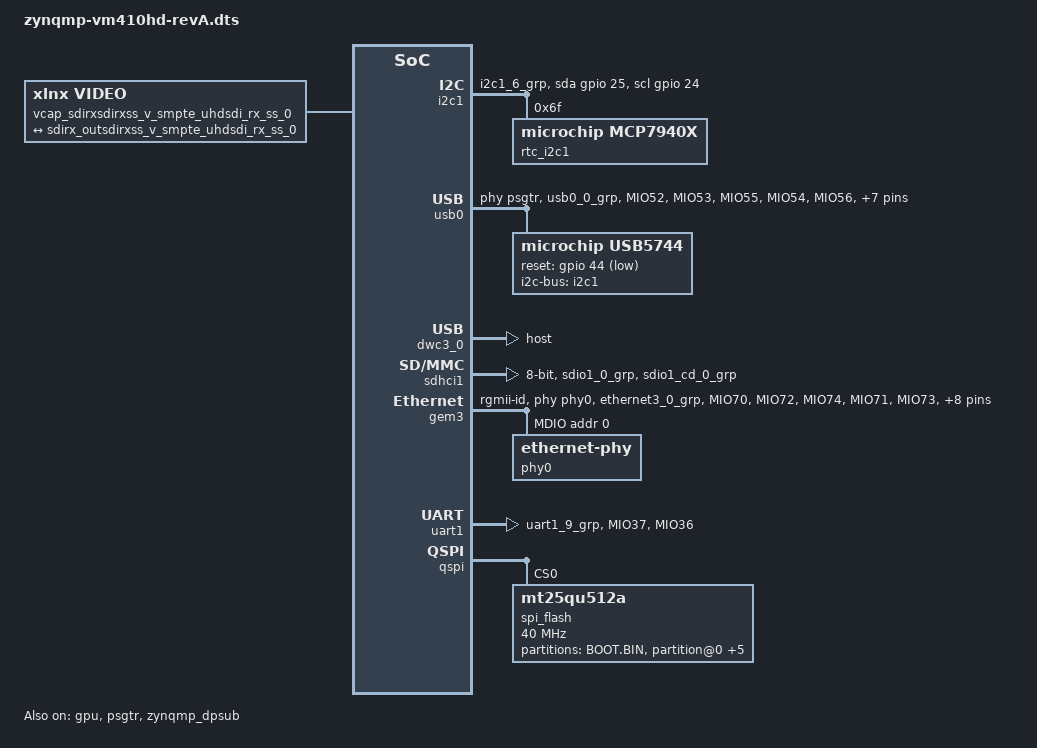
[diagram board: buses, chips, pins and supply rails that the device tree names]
// SPDX-License-Identifier: GPL-2.0
/*
 * dts file for KV260 revA Carrier Card
 *
 * (C) Copyright 2020 - 2021, Xilinx, Inc.
 *
 * Michal Simek <michal.simek@xilinx.com>
 */

#include <dt-bindings/gpio/gpio.h>
#include <dt-bindings/net/ti-dp83867.h>
#include <dt-bindings/phy/phy.h>
#include <dt-bindings/pinctrl/pinctrl-zynqmp.h>
#include <dt-bindings/media/xilinx-vip.h>
#include <dt-bindings/clock/xlnx-zynqmp-clk.h>
#include <dt-bindings/power/xlnx-zynqmp-power.h>

/dts-v1/;
/plugin/;

&{/} {
	compatible = "xlnx,zynqmp";
	model = "VM-410HD revA";
	#address-cells = <2>;
	#size-cells = <2>;
	reserved-memory {
		#address-cells = <2>;
		#size-cells = <2>;
		ranges;

		/* global autoconfigured region for contiguous allocations */
		image_buf0: image_buf@10000000 {
			compatible = "shared-dma-pool";
			no-map;
			reg = <0 0x10000000 0 0x10000000>; // 256MB
		};
		display_reserved: framebuffer@70000000 {
			compatible = "shared-dma-pool";
			no-map;
			reg = <0 0x70000000 0 0x00800000>; // 8MB
		};
	};
	framebuffer0: framebuffer@70000000 {
                compatible = "simple-framebuffer";
                reg = <0 0x70000000 0 (1920 * 1080  * 2)>;
                width = <1920>;
                height = <1080>;
                stride = <(1920 * 2)>;
                format = "r5g6b5";
		clocks = <&misc_clk_0>;
        };
};

&gpio {
	emio-gpio-width = <32>;
	gpio-mask-high = <0x0>;
	gpio-mask-low = <0x5600>;
	status = "okay";
};

&gpu {
	status = "okay";
	xlnx,tz-nonsecure = <0x1>;
};

&spi1 { /* MIO6, 9-11 */
    status = "disabled";
};

&rtc {
	status = "disabled";
};

&i2c1 { /* I2C_SCK C23/C24 - MIO from SOM */
	#address-cells = <1>;
	#size-cells = <0>;
	pinctrl-names = "default", "gpio";
	pinctrl-0 = <&pinctrl_i2c1_default>;
	pinctrl-1 = <&pinctrl_i2c1_gpio>;
	scl-gpios = <&gpio 24 GPIO_ACTIVE_HIGH>;
	sda-gpios = <&gpio 25 GPIO_ACTIVE_HIGH>;

	/* u43 - 0x2d - USB hub */
	/* u27 - 0xe0 - STDP4320 DP/HDMI splitter */
	/* u24 - 0x6f - MCP7940NT-I/MNY RTC */
	rtc_i2c1: mcp7940x@6f {
		compatible = "microchip,mcp7940x";
		reg = <0x6f>;
	};
};

&amba {
	clk_27: clk_27 {
		compatible = "fixed-clock";
		#clock-cells = <0>;
		clock-frequency = <27000000>;
	};

	clk_26: clk_26 {
		compatible = "fixed-clock";
		#clock-cells = <0>;
		clock-frequency = <26000000>;
	};
};

/* DP/USB 3.0 */
&psgtr {
	status = "okay";
	/* pcie, usb3, sata */
	clocks = <&clk_27>, <&clk_26>;
	clock-names = "ref1", "ref2";
};

&zynqmp_dpsub {
	status = "okay";
	phy-names = "dp-phy0", "dp-phy1";
	phys = <&psgtr 1 PHY_TYPE_DP 0 1>, <&psgtr 0 PHY_TYPE_DP 1 1>;
        clocks = <&dp_aclk>, <&zynqmp_clk DP_AUDIO_REF>, <&zynqmp_clk DP_VIDEO_REF>; //, <&video_clk_wiz>;
        clock-names = "dp_apb_clk", "dp_aud_clk", "dp_vtc_pixel_clk_in"; //, "dp_live_video_in_clk";
	assigned-clock-rates = <27000000>, <25000000>, <300000000>; //, <262750170>;
};

&zynqmp_dpdma {
	status = "okay";
	assigned-clock-rates = <600000000>;
};

&usb0 {
	status = "okay";
	pinctrl-names = "default";
	pinctrl-0 = <&pinctrl_usb0_default>;
	phy-names = "usb3-phy";
	phys = <&psgtr 2 PHY_TYPE_USB3 0 2>;
	assigned-clock-rates = <250000000>, <20000000>;

	usb5744: usb-hub { /* u43 */
		status = "okay";
		compatible = "microchip,usb5744";
		i2c-bus = <&i2c1>;
		reset-gpios = <&gpio 44 GPIO_ACTIVE_LOW>;
	};
};

&dwc3_0 {
	status = "okay";
	dr_mode = "host";
	snps,usb3_lpm_capable;
	maximum-speed = "super-speed";
};

&sdhci0 {
	assigned-clock-rates = <187499999>;
};

&sdhci1 {
	status = "okay";
	pinctrl-names = "default";
	pinctrl-0 = <&pinctrl_sdhci1_default>;
	disable-wp;
	xlnx,mio-bank = <1>;
	clk-phase-sd-hs = <126>, <60>;
	clk-phase-uhs-sdr25 = <120>, <60>;
	clk-phase-uhs-ddr50 = <126>, <48>;
	assigned-clock-rates = <187499999>;
	bus-width = <8>;
};

&gem3 { /* required by spec */
	status = "okay";
	pinctrl-names = "default";
	pinctrl-0 = <&pinctrl_gem3_default>;
	phy-handle = <&phy0>;
	phy-mode = "rgmii-id";

	mdio: mdio {
		#address-cells = <1>;
		#size-cells = <0>;

		phy0: ethernet-phy@1 {
			#phy-cells = <1>;
			reg = <0>;
		};
	};
};

&pinctrl0 { /* required by spec */
	status = "okay";

	pinctrl_uart1_default: uart1-default {
		conf {
			groups = "uart1_9_grp";
			slew-rate = <SLEW_RATE_SLOW>;
			power-source = <IO_STANDARD_LVCMOS18>;
			drive-strength = <12>;
		};

		conf-rx {
			pins = "MIO37";
			bias-high-impedance;
		};

		conf-tx {
			pins = "MIO36";
			bias-disable;
		};

		mux {
			groups = "uart1_9_grp";
			function = "uart1";
		};
	};

	pinctrl_i2c1_default: i2c1-default {
		conf {
			groups = "i2c1_6_grp";
			bias-pull-up;
			slew-rate = <SLEW_RATE_SLOW>;
			power-source = <IO_STANDARD_LVCMOS18>;
		};

		mux {
			groups = "i2c1_6_grp";
			function = "i2c1";
		};
	};

	pinctrl_i2c1_gpio: i2c1-gpio {
		conf {
			groups = "gpio0_24_grp", "gpio0_25_grp";
			slew-rate = <SLEW_RATE_SLOW>;
			power-source = <IO_STANDARD_LVCMOS18>;
		};

		mux {
			groups = "gpio0_24_grp", "gpio0_25_grp";
			function = "gpio0";
		};
	};

	pinctrl_gem3_default: gem3-default {
		conf {
			groups = "ethernet3_0_grp";
			slew-rate = <SLEW_RATE_FAST>;
			drive-strength = <12>;
			power-source = <IO_STANDARD_LVCMOS18>;
		};

		conf-rx {
			pins = "MIO70", "MIO72", "MIO74";
			bias-high-impedance;
			low-power-disable;
		};

		conf-bootstrap {
			pins = "MIO71", "MIO73", "MIO75";
			bias-disable;
			low-power-disable;
		};

		conf-tx {
			pins = "MIO64", "MIO65", "MIO66",
				"MIO67", "MIO68", "MIO69";
			bias-disable;
			low-power-enable;
		};

		conf-mdio {
			groups = "mdio3_0_grp";
			slew-rate = <SLEW_RATE_SLOW>;
			power-source = <IO_STANDARD_LVCMOS18>;
			bias-disable;
		};

		mux-mdio {
			function = "mdio3";
			groups = "mdio3_0_grp";
		};

		mux {
			function = "ethernet3";
			groups = "ethernet3_0_grp";
		};
	};

	pinctrl_usb0_default: usb0-default {
		conf {
			groups = "usb0_0_grp";
			power-source = <IO_STANDARD_LVCMOS18>;
		};

		conf-rx {
			pins = "MIO52", "MIO53", "MIO55";
			bias-high-impedance;
			drive-strength = <12>;
			slew-rate = <SLEW_RATE_FAST>;
		};

		conf-tx {
			pins = "MIO54", "MIO56", "MIO57", "MIO58", "MIO59",
			"MIO60", "MIO61", "MIO62", "MIO63";
			bias-disable;
			drive-strength = <4>;
			slew-rate = <SLEW_RATE_SLOW>;
		};

		mux {
			groups = "usb0_0_grp";
			function = "usb0";
		};
	};

	pinctrl_sdhci1_default: sdhci1-default {
		conf {
			groups = "sdio1_0_grp";
			slew-rate = <SLEW_RATE_SLOW>;
			power-source = <IO_STANDARD_LVCMOS18>;
			bias-disable;
		};

		conf-cd {
			groups = "sdio1_cd_0_grp";
			bias-high-impedance;
			bias-pull-up;
			slew-rate = <SLEW_RATE_SLOW>;
			power-source = <IO_STANDARD_LVCMOS18>;
		};

		mux-cd {
			groups = "sdio1_cd_0_grp";
			function = "sdio1_cd";
		};

		mux {
			groups = "sdio1_0_grp";
			function = "sdio1";
		};
	};
};

&uart1 {
	status = "okay";
	pinctrl-names = "default";
	pinctrl-0 = <&pinctrl_uart1_default>;
};

&amba {
	#address-cells = <2>;
	#size-cells = <2>;
	uio_sdirxss: uio_sdirxss@80040000 {
		// UHDSDI Rx Subsystem
		compatible = "vm410hd-uio";
		reg = <0x0 0x80040000 0x0 0x10000>;
	};
	uio_vtc: uio_vtc@80050000 {
		// Video Timing Controller
		compatible = "vm410hd-uio";
		reg = <0x0 0x80050000 0x0 0x10000>;
	};
	afi0: afi0 {
		compatible = "xlnx,afi-fpga";
		config-afi = < 0 0>, <1 0>, <2 0>, <3 0>, <4 0>, <5 0>, <6 0>, <7 0>, <8 0>, <9 0>, <10 2>, <11 2>, <12 0>, <13 0>, <14 0x200>, <15 0x000>;
	};
	clocking0: clocking0 {
		#clock-cells = <0>;
		assigned-clock-rates = <99999001>;
		assigned-clocks = <&zynqmp_clk 71>;
		clock-output-names = "fabric_clk";
		clocks = <&zynqmp_clk 71>;
		compatible = "xlnx,fclk";
	};
	sdirxss_v_frmbuf_wr_0: v_frmbuf_wr@80000000 {
		#dma-cells = <1>;
		clock-names = "ap_clk";
		clocks = <&misc_clk_0>;
		compatible = "xlnx,v-frmbuf-wr-2.4", "xlnx,axi-frmbuf-wr-v2.2";
		interrupt-names = "interrupt";
		interrupt-parent = <&gic>;
		interrupts = <0 90 4>;
		reg = <0x0 0x80000000 0x0 0x10000>;
		reset-gpios = <&gpio 106 1>;
		xlnx,dma-addr-width = <64>;
		xlnx,dma-align = <16>;
		xlnx,max-height = <2160>;
		xlnx,max-width = <3840>;
		xlnx,pixels-per-clock = <2>;
		xlnx,s-axi-ctrl-addr-width = <0x7>;
		xlnx,s-axi-ctrl-data-width = <0x20>;
		xlnx,vid-formats = "uyvy", "vuy888", "xvuy8888", "yuvx2101010", "yuyv", "nv16", "xv20", "xv15";
		xlnx,video-width = <10>;
	};
	misc_clk_0: misc_clk_0 {
		#clock-cells = <0>;
		clock-frequency = <224997750>;
		compatible = "fixed-clock";
	};
	misc_clk_1: misc_clk_1 {
		#clock-cells = <0>;
		clock-frequency = <148500000>;
		compatible = "fixed-clock";
	};
	misc_clk_2: misc_clk_2 {
		#clock-cells = <0>;
		clock-frequency = <99999000>;
		compatible = "fixed-clock";
	};
	vcu_0: vcu@80100000 {
		#address-cells = <2>;
		#clock-cells = <1>;
		#size-cells = <2>;
		clock-names = "pll_ref", "aclk", "vcu_core_enc", "vcu_mcu_enc", "vcu_core_dec", "vcu_mcu_dec";
		clocks = <&misc_clk_3>, <&misc_clk_2>, <&vcu_0 0>, <&vcu_0 1>, <&vcu_0 2>, <&vcu_0 3>;
		compatible = "xlnx,vcu-1.2", "xlnx,vcu";
		interrupt-names = "vcu_host_interrupt";
		interrupt-parent = <&gic>;
		interrupts = <0 104 4>;
		ranges ;
		reg = <0x0 0x80140000 0x0 0x1000>, <0x0 0x80141000 0x0 0x1000>;
		reg-names = "vcu_slcr", "logicore";
		reset-gpios = <&gpio 108 0>;
		encoder: al5e@80100000 {
			compatible = "al,al5e-1.2", "al,al5e";
			interrupt-parent = <&gic>;
			interrupts = <0 104 4>;
			reg = <0x0 0x80100000 0x0 0x10000>;
		};
		decoder: al5d@80120000 {
			compatible = "al,al5d-1.2", "al,al5d";
			interrupt-parent = <&gic>;
			interrupts = <0 104 4>;
			reg = <0x0 0x80120000 0x0 0x10000>;
		};
	};
	misc_clk_3: misc_clk_3 {
		#clock-cells = <0>;
		clock-frequency = <49999500>;
		compatible = "fixed-clock";
	};
	vcap_sdirxsdirxss_v_smpte_uhdsdi_rx_ss_0 {
		compatible = "xlnx,video";
		dma-names = "port0";
		dmas = <&sdirxss_v_frmbuf_wr_0 0>;
		memory-region = <&image_buf0>;
		vcap_portssdirxss_v_smpte_uhdsdi_rx_ss_0: ports {
			#address-cells = <1>;
			#size-cells = <0>;
			vcap_portsdirxss_v_smpte_uhdsdi_rx_ss_0: port@0 {
				direction = "input";
				reg = <0>;
				sdirxss_v_frmbuf_wr_0sdirxss_v_smpte_uhdsdi_rx_ss_0: endpoint {
					remote-endpoint = <&sdirx_outsdirxss_v_smpte_uhdsdi_rx_ss_0>;
				};
			};
		};
	};
	sdirxss_v_smpte_uhdsdi_rx_ss_0: v_smpte_uhdsdi_rx_ss@80040000 {
		clock-names = "sdi_rx_clk", "video_out_clk", "s_axi_aclk";
		clocks = <&misc_clk_1>, <&misc_clk_0>, <&misc_clk_2>;
		compatible = "xlnx,v-smpte-uhdsdi-rx-ss-2.0", "xlnx,v-smpte-uhdsdi-rx-ss";
		interrupt-names = "sdi_rx_irq";
		interrupt-parent = <&gic>;
		interrupts = <0 92 4>;
		reg = <0x0 0x80040000 0x0 0x10000>;
		xlnx,bpp = <10>;
		xlnx,exdes-board = "ZCU106";
		xlnx,exdes-config = "RX_Only";
		xlnx,exdesboard-version = <0x2>;
		xlnx,include-adv-features = "false";
		xlnx,include-axilite = "true";
		xlnx,include-edh = "true";
		xlnx,include-hdr10-extract = "false";
		xlnx,include-hfr = "false";
		xlnx,include-ycbcr-444 = "false";
		xlnx,line-rate = "3G_SDI";
		xlnx,pixels-per-clock = <0x2>;
		xlnx,video-intf = "AXI4_Stream";
		sdirx_portssdirxss_v_smpte_uhdsdi_rx_ss_0: ports {
			#address-cells = <1>;
			#size-cells = <0>;
			sdirx_portsdirxss_v_smpte_uhdsdi_rx_ss_0: port@0 {
				/* Fill the fields xlnx,video-format and xlnx,video-width based on user requirement */
				reg = <0>;
				xlnx,video-format = <0>;
				xlnx,video-width = <10>;
				sdirx_outsdirxss_v_smpte_uhdsdi_rx_ss_0: endpoint {
					remote-endpoint = <&sdirxss_v_frmbuf_wr_0sdirxss_v_smpte_uhdsdi_rx_ss_0>;
				};
			};
		};
	};
};

&qspi {
	status = "okay";
	#address-cells = <1>;
	#size-cells = <0>;
	spi_flash: flash@0 { /* MT25QU512A */
		compatible = "mt25qu512a", "jedec,spi-nor"; /* 64MB */
		reg = <0>;
		spi-tx-bus-width = <4>;
		spi-rx-bus-width = <4>;
		spi-max-frequency = <40000000>; /* 40MHz */
		partitions {
			compatible = "fixed-partitions";
			#address-cells = <1>;
			#size-cells = <1>;
			boot {
				label = "BOOT.BIN";
				reg = <0x0 0xd00000>; /* 13MB */
			};
			partition@0 {
				reg = <0xd00000 0x20000>; /* 128KB */
			};
			partition@80000 {
				reg = <0xd20000 0x20000>; /* 128KB */
			};
			partition@100000 {
				reg = <0xd40000 0x20000>; /* 128KB */
			};
			partition@120000 {
				reg = <0xd60000 0x20000>; /* 128KB */
			};
			partition@140000 {
				reg = <0xd80000 0x20000>; /* 128KB */
			};
			partition@200000 {
				reg = <0xda0000 0x20000>; /* 128KB */
			};
		};
	};

};
